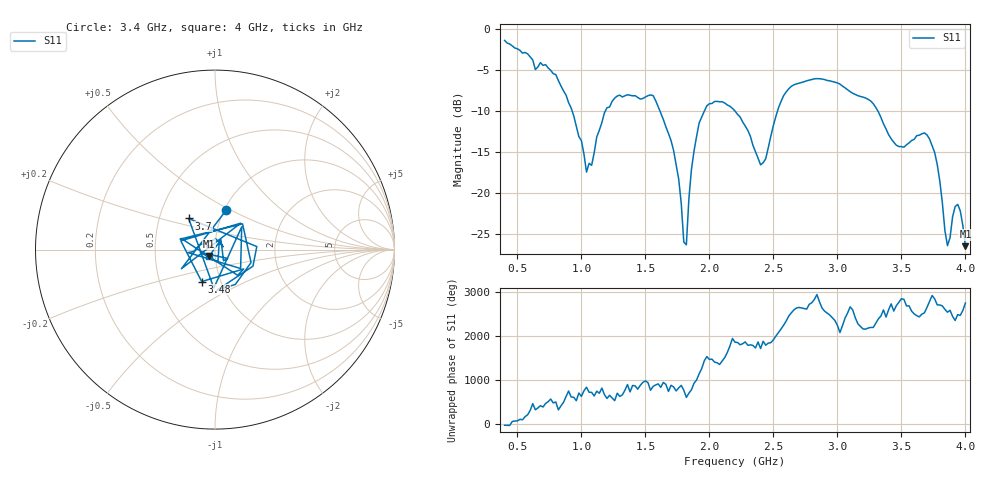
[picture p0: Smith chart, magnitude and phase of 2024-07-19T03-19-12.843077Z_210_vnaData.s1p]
!Created with skrf (http://scikit-rf.org).
# Hz S RI R 50.0
!freq ReS11 ImS11
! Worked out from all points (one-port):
!   181 points, 400 MHz to 4 GHz, reference 50 ohm
!   lowest |S11| = -26.4 dB at 4 GHz (marker M1), VSWR 1.10, Z = 46.8 - j3.33 ohm
!   |S11| at or under -10 dB: 1.615 GHz to 1.96 GHz (344.9 MHz wide, 19.3 % of centre); 2.202 GHz to 2.531 GHz (329.3 MHz wide, 13.9 % of centre); 3.318 GHz to end of sweep (the widest 3 of 4)
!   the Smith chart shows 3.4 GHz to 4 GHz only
!   S11 on the Smith chart (normalised r, x): 3.4 GHz: 1.02, +0.47; 3.48 GHz: 0.81, -0.30; 3.7 GHz: 0.70, +0.26; 4 GHz: 0.94, -0.07
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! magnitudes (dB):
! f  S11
! 400 MHz  -1.4
! 860 MHz  -7.5
! 1 GHz  -13.6
! 1.04 GHz  -17.4
! 1.18 GHz  -10.2
! 1.3 GHz  -8.0
! 1.56 GHz  -8.1
! 1.7 GHz  -13.5
! 1.76 GHz  -18.3
! 1.8 GHz  -25.9
! 1.82 GHz  -26.3
! 1.86 GHz  -17.1
! 1.92 GHz  -11.4
! 2.04 GHz  -8.8
! 2.2 GHz  -10.0
! 2.4 GHz  -16.5
! 2.56 GHz  -8.8
! 2.66 GHz  -6.8
! 3.1 GHz  -7.6
! 3.28 GHz  -9.1
! 3.4 GHz  -12.8
! 3.48 GHz  -14.3
! 3.56 GHz  -13.8
! 3.7 GHz  -12.9
! 3.78 GHz  -16.5
! 3.86 GHz  -26.4
! 3.94 GHz  -21.4
! 4 GHz  -26.4
